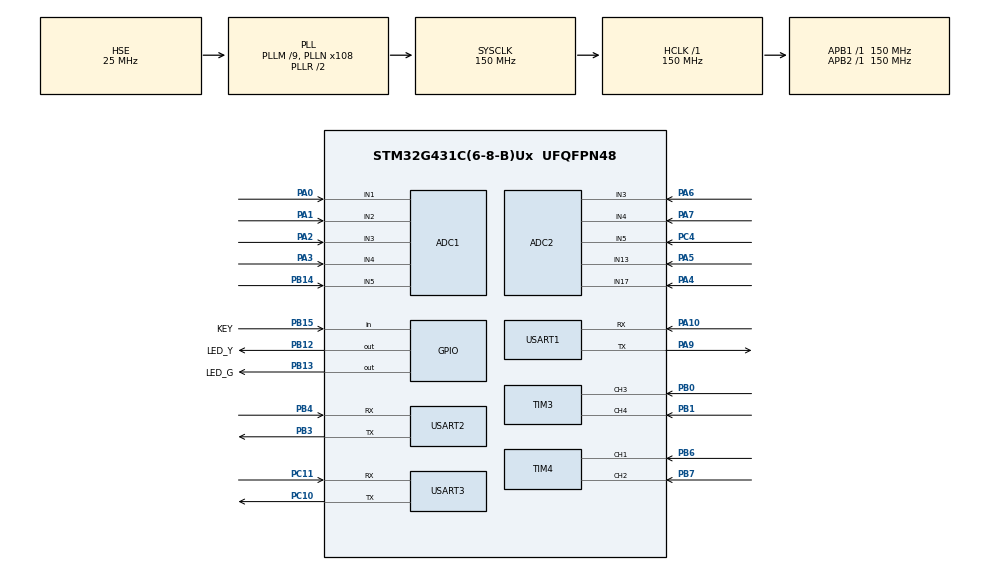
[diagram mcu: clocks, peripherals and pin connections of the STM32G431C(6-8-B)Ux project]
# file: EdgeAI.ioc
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ADC1.Channel-4\#ChannelRegularConversion=ADC_CHANNEL_1
ADC1.Channel-5\#ChannelRegularConversion=ADC_CHANNEL_2
ADC1.Channel-6\#ChannelRegularConversion=ADC_CHANNEL_3
ADC1.Channel-7\#ChannelRegularConversion=ADC_CHANNEL_4
ADC1.Channel-8\#ChannelRegularConversion=ADC_CHANNEL_5
ADC1.DiscontinuousConvMode=ENABLE
ADC1.NbrOfConversion=5
ADC1.NbrOfConversionFlag=1
ADC1.OffsetNumber-4\#ChannelRegularConversion=ADC_OFFSET_NONE
ADC1.OffsetNumber-5\#ChannelRegularConversion=ADC_OFFSET_NONE
ADC1.OffsetNumber-6\#ChannelRegularConversion=ADC_OFFSET_NONE
ADC1.OffsetNumber-7\#ChannelRegularConversion=ADC_OFFSET_NONE
ADC1.OffsetNumber-8\#ChannelRegularConversion=ADC_OFFSET_NONE
ADC1.Rank-4\#ChannelRegularConversion=1
ADC1.Rank-5\#ChannelRegularConversion=2
ADC1.Rank-6\#ChannelRegularConversion=3
ADC1.Rank-7\#ChannelRegularConversion=4
ADC1.Rank-8\#ChannelRegularConversion=5
ADC1.SamplingTime-4\#ChannelRegularConversion=ADC_SAMPLETIME_247CYCLES_5
ADC1.SamplingTime-5\#ChannelRegularConversion=ADC_SAMPLETIME_247CYCLES_5
ADC1.SamplingTime-6\#ChannelRegularConversion=ADC_SAMPLETIME_247CYCLES_5
ADC1.SamplingTime-7\#ChannelRegularConversion=ADC_SAMPLETIME_247CYCLES_5
ADC1.SamplingTime-8\#ChannelRegularConversion=ADC_SAMPLETIME_247CYCLES_5
ADC1.master=1
ADC2.Channel-2\#ChannelRegularConversion=ADC_CHANNEL_3
ADC2.NbrOfConversionFlag=1
ADC2.OffsetNumber-2\#ChannelRegularConversion=ADC_OFFSET_NONE
ADC2.Rank-2\#ChannelRegularConversion=1
ADC2.SamplingTime-2\#ChannelRegularConversion=ADC_SAMPLETIME_2CYCLES_5
Mcu.Family=STM32G4
Mcu.Name=STM32G431C(6-8-B)Ux
Mcu.Package=UFQFPN48
NVIC.PriorityGroup=NVIC_PRIORITYGROUP_2
NVIC.TIM1_TRG_COM_TIM17_IRQn=true\:1\:1\:true\:false\:true\:true\:true\:true
NVIC.USART2_IRQn=true\:0\:2\:false\:false\:true\:true\:true\:true
PA0.Mode=IN1-Single-Ended
PA0.Signal=ADC1_IN1
PA1.Mode=IN2-Single-Ended
PA1.Signal=ADC1_IN2
PA10.Mode=Asynchronous
PA10.Signal=USART1_RX
PA13.Mode=Serial_Wire
PA13.Signal=SYS_JTMS-SWDIO
PA14.Mode=Serial_Wire
PA14.Signal=SYS_JTCK-SWCLK
PA2.Mode=IN3-Single-Ended
PA2.Signal=ADC1_IN3
PA3.Mode=IN4-Single-Ended
PA3.Signal=ADC1_IN4
PA4.Mode=IN17-Single-Ended
PA4.Signal=ADC2_IN17
PA5.Mode=IN13-Single-Ended
PA5.Signal=ADC2_IN13
PA6.Mode=IN3-Single-Ended
PA6.Signal=ADC2_IN3
PA7.Mode=IN4-Single-Ended
PA7.Signal=ADC2_IN4
PA9.Mode=Asynchronous
PA9.Signal=USART1_TX
PB0.Signal=S_TIM3_CH3
PB1.Signal=S_TIM3_CH4
PB12.GPIO_Label=LED_Y
PB12.Signal=GPIO_Output
PB13.GPIO_Label=LED_G
PB13.Signal=GPIO_Output
PB14.Mode=IN5-Single-Ended
PB14.Signal=ADC1_IN5
PB15.GPIO_Label=KEY
PB15.Signal=GPIO_Input
PB3.Mode=Asynchronous
PB3.Signal=USART2_TX
PB4.Mode=Asynchronous
PB4.Signal=USART2_RX
PB6.Signal=S_TIM4_CH1
PB7.Signal=S_TIM4_CH2
PC10.Mode=Asynchronous
PC10.Signal=USART3_TX
PC11.Mode=Asynchronous
PC11.Signal=USART3_RX
PC4.Mode=IN5-Single-Ended
PC4.Signal=ADC2_IN5
PF0-OSC_IN.Mode=HSE-External-Oscillator
PF0-OSC_IN.Signal=RCC_OSC_IN
PF1-OSC_OUT.Mode=HSE-External-Oscillator
PF1-OSC_OUT.Signal=RCC_OSC_OUT
ProjectManager.HeapSize=0x200
ProjectManager.StackSize=0x400
ProjectManager.TargetToolchain=MDK-ARM V5.32
RCC.ADC12Freq_Value=150000000
RCC.AHBFreq_Value=150000000
RCC.APB1Freq_Value=150000000
RCC.APB1TimFreq_Value=150000000
RCC.APB2Freq_Value=150000000
RCC.APB2TimFreq_Value=150000000
RCC.CortexFreq_Value=150000000
RCC.EXTERNAL_CLOCK_VALUE=12288000
RCC.HCLKFreq_Value=150000000
RCC.HSE_VALUE=25000000
RCC.HSI48_VALUE=48000000
RCC.HSI_VALUE=16000000
RCC.LSE_VALUE=32768
RCC.PLLM=RCC_PLLM_DIV9
RCC.PLLN=108
RCC.PLLSourceVirtual=RCC_PLLSOURCE_HSE
RCC.SYSCLKFreq_VALUE=150000000
RCC.SYSCLKSource=RCC_SYSCLKSOURCE_PLLCLK
RCC.USBFreq_Value=150000000
RCC.VCOOutputFreq_Value=300000000
SH.S_TIM3_CH3.0=TIM3_CH3,Input_Capture3_from_TI3
SH.S_TIM3_CH4.0=TIM3_CH4,Input_Capture4_from_TI4
SH.S_TIM4_CH1.0=TIM4_CH1,Input_Capture1_from_TI1
SH.S_TIM4_CH2.0=TIM4_CH2,Input_Capture2_from_TI2
TIM3.Channel-Input_Capture3_from_TI3=TIM_CHANNEL_3
TIM3.Channel-Input_Capture4_from_TI4=TIM_CHANNEL_4
TIM4.Channel-Input_Capture1_from_TI1=TIM_CHANNEL_1
TIM4.Channel-Input_Capture2_from_TI2=TIM_CHANNEL_2
USART1.VirtualMode-Asynchronous=VM_ASYNC
USART2.VirtualMode-Asynchronous=VM_ASYNC
USART3.VirtualMode-Asynchronous=VM_ASYNC
VP_SYS_VS_DBSignals.Mode=DisableDeadBatterySignals
VP_TIM17_VS_ClockSourceINT.Mode=Enable_Timer
VP_TIM3_VS_ClockSourceINT.Mode=Internal
VP_TIM4_VS_ClockSourceINT.Mode=Internal
VP_TIM8_VS_ClockSourceINT.Mode=Internal
board=custom

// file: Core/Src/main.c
/* USER CODE BEGIN Header */
/**
  ******************************************************************************
  * @file           : main.c
  * @brief          : Main program body
  ******************************************************************************
  * @attention
  *
  * Copyright (c) 2025 STMicroelectronics.
  * All rights reserved.
  *
  * This software is licensed under terms that can be found in the LICENSE file
  * in the root directory of this software component.
  * If no LICENSE file comes with this software, it is provided AS-IS.
  *
  ******************************************************************************
  */
/* USER CODE END Header */
#include "main.h"
#include "adc.h"
#include "tim.h"
#include "usart.h"
#include "gpio.h"

/* USER CODE BEGIN Includes */
#include "file.h"

#include "string.h"
#include "stdio.h"

#include "NanoEdgeAI.h"
#include "knowledge.h"

/* USER CODE END Includes */

/* USER CODE BEGIN PD */

float input_user_buffer[DATA_INPUT_USER * AXIS_NUMBER]; // Buffer of input values
float output_class_buffer[CLASS_NUMBER]; // Buffer of class probabilities

float smell_buffer[DATA_INPUT_USER * AXIS_NUMBER] = {0};

/* USER CODE END PD */

void SystemClock_Config(void);

/* USER CODE BEGIN 0 */
//CH4 CH2O CO VOC ODOR
void fill_buffer(float input_buffer[])
{
	for(int i=0; i<DATA_INPUT_USER; i++)
	{
		for(int ch=0; ch<AXIS_NUMBER;ch++)
		{
			HAL_ADC_Start(&hadc1);
			if(HAL_ADC_PollForConversion(&hadc1, 10) == HAL_OK)
			{
				uint16_t raw_value = HAL_ADC_GetValue(&hadc1);
				input_buffer[i * AXIS_NUMBER + ch] = sliding_filter(ch, raw_value);
			}
		}
		HAL_ADC_Stop(&hadc1);
	}
}

void Send_Data(float *data)
{
    const int total = DATA_INPUT_USER * AXIS_NUMBER;
    static char temp[20];

    for(int i = 0; i < total; i++) {
        snprintf(temp, sizeof(temp), "%.2f", data[i]);
        printf("%s%c", temp, (i < total-1) ? ',' : '\n');
    }
}
/* USER CODE END 0 */

int main(void)
{
  /* USER CODE BEGIN 1 */

	enum neai_state error_code = neai_classification_init(knowledge);
	if (error_code != NEAI_OK) {
		/* This happens if the knowledge does not correspond to the library or if the library works into a not supported board. */
	}

	/* Classification ------------------------------------------------------------*/
	uint16_t id_class = 0;
	uint16_t id_class_last = 0;

  /* USER CODE END 1 */

  /* MCU Configuration--------------------------------------------------------*/

  /* Reset of all peripherals, Initializes the Flash interface and the Systick. */
  HAL_Init();

  /* Configure the system clock */
  SystemClock_Config();

  /* Initialize all configured peripherals */
  MX_GPIO_Init();
  MX_ADC1_Init();
  MX_ADC2_Init();
  MX_TIM3_Init();
  MX_TIM4_Init();
  MX_TIM8_Init();
  MX_TIM17_Init();
  MX_USART1_UART_Init();
  MX_USART2_UART_Init();
  MX_USART3_UART_Init();
  /* USER CODE BEGIN 2 */
	init_sliding_window();
	HAL_ADCEx_Calibration_Start(&hadc1, ADC_SINGLE_ENDED); //
	HAL_Delay(100); //
  /* USER CODE END 2 */

  /* Infinite loop */
  /* USER CODE BEGIN WHILE */
  while (1)
  {
//		fill_buffer(smell_buffer);
//	  	Send_Data(smell_buffer);

		fill_buffer(input_user_buffer);
		neai_classification(input_user_buffer, output_class_buffer, &id_class);

		switch(id_class)
		{
			case 0:
			{
				printf("Unknown!\r\n");
			}break;

//			case 3:
//			{
//				printf("Organ!\r\n");
//			}break;

			case 2:
			{
				printf("Tea!\r\n");
			}break;

			case 1:
			{
				printf("Air!\r\n");
			}break;
		}

		if(id_class != id_class_last)
		{
			id_class_last = id_class;
			uart3_send_string((char *)id_class);
		}

    /* USER CODE END WHILE */

    /* USER CODE BEGIN 3 */
	HAL_Delay(100);
  }
  /* USER CODE END 3 */
}

void SystemClock_Config(void)
{
  RCC_OscInitTypeDef RCC_OscInitStruct = {0};
  RCC_ClkInitTypeDef RCC_ClkInitStruct = {0};

  /** Configure the main internal regulator output voltage
  */
  HAL_PWREx_ControlVoltageScaling(PWR_REGULATOR_VOLTAGE_SCALE1);

  /** Initializes the RCC Oscillators according to the specified parameters
  * in the RCC_OscInitTypeDef structure.
  */
  RCC_OscInitStruct.OscillatorType = RCC_OSCILLATORTYPE_HSE;
  RCC_OscInitStruct.HSEState = RCC_HSE_ON;
  RCC_OscInitStruct.PLL.PLLState = RCC_PLL_ON;
  RCC_OscInitStruct.PLL.PLLSource = RCC_PLLSOURCE_HSE;
  RCC_OscInitStruct.PLL.PLLM = RCC_PLLM_DIV9;
  RCC_OscInitStruct.PLL.PLLN = 108;
  RCC_OscInitStruct.PLL.PLLP = RCC_PLLP_DIV2;
  RCC_OscInitStruct.PLL.PLLQ = RCC_PLLQ_DIV2;
  RCC_OscInitStruct.PLL.PLLR = RCC_PLLR_DIV2;
  if (HAL_RCC_OscConfig(&RCC_OscInitStruct) != HAL_OK)
  {
    Error_Handler();
  }

  /** Initializes the CPU, AHB and APB buses clocks
  */
  RCC_ClkInitStruct.ClockType = RCC_CLOCKTYPE_HCLK|RCC_CLOCKTYPE_SYSCLK
                              |RCC_CLOCKTYPE_PCLK1|RCC_CLOCKTYPE_PCLK2;
  RCC_ClkInitStruct.SYSCLKSource = RCC_SYSCLKSOURCE_PLLCLK;
  RCC_ClkInitStruct.AHBCLKDivider = RCC_SYSCLK_DIV1;
  RCC_ClkInitStruct.APB1CLKDivider = RCC_HCLK_DIV1;
  RCC_ClkInitStruct.APB2CLKDivider = RCC_HCLK_DIV1;

  if (HAL_RCC_ClockConfig(&RCC_ClkInitStruct, FLASH_LATENCY_4) != HAL_OK)
  {
    Error_Handler();
  }
}

/* USER CODE BEGIN 4 */
int fputc(int ch,FILE *f)
{
    HAL_UART_Transmit(&huart1,(uint8_t *)&ch,1,HAL_MAX_DELAY);
    return ch;
}

int fgetc(FILE *f)
{
    uint8_t ch;
    HAL_UART_Receive( &huart1,(uint8_t*)&ch,1, HAL_MAX_DELAY );
    return ch;
}
void uart3_send_string(char *str)
{
    uint16_t len = strlen(str);
    HAL_UART_Transmit(&huart3, (uint8_t *)str, len, HAL_MAX_DELAY);
}
/* USER CODE END 4 */

void Error_Handler(void)
{
  __disable_irq();
  while (1)
  {
  }
}
